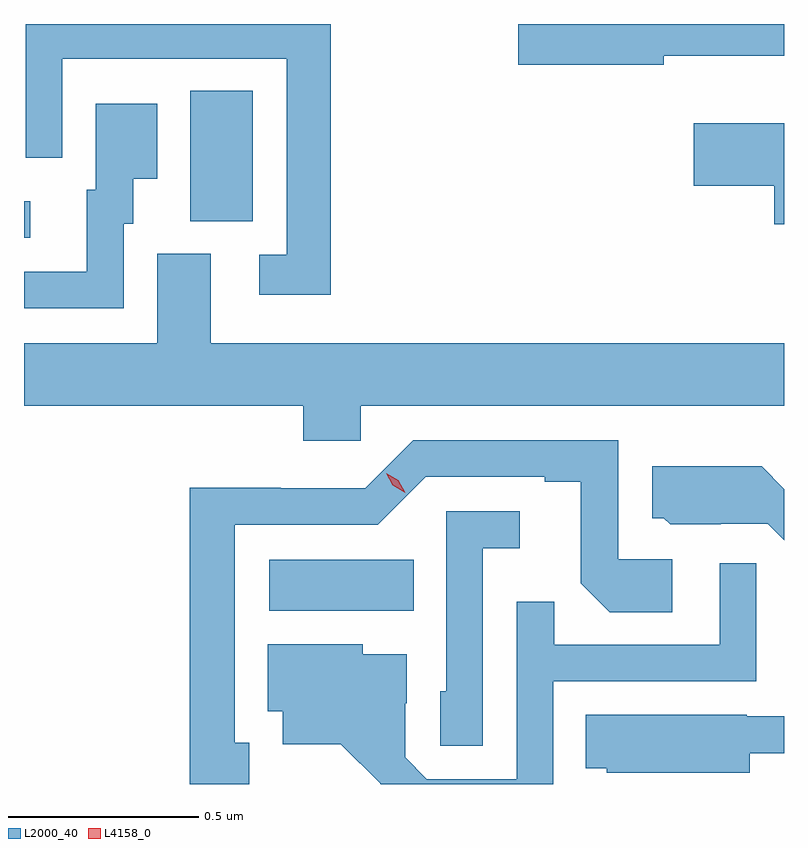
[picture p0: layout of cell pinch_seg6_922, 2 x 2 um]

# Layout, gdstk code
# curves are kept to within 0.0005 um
import gdstk
lib = gdstk.Library(unit=1e-6, precision=1e-09)
def R(c, l, rs):  # rectangles x0, y0, x1, y1
    for r in rs: c.add(gdstk.rectangle(r[:2], r[2:], *l))
def P(c, l, *ps):  # polygons
    for p in ps: c.add(gdstk.Polygon(p, *l))
L2000_40 = (2000, 40)
L4158_0 = (4158, 0)

pinch_seg6_922 = lib.new_cell('pinch_seg6_922')
R(pinch_seg6_922, L2000_40, [(161.574,920.156,161.954,920.29), (160.928,921.138,160.945,921.234), (161.366,921.181,161.53,921.524)])
P(pinch_seg6_922, L2000_40, [(162.612,921.617),(162.928,921.617),(162.928,921.7),(162.228,921.7),(162.228,921.593),(162.612,921.593)],
  [(161.735,921.7),(160.933,921.7),(160.933,921.602),(160.932,921.602),(160.932,921.348),(161.028,921.348),(161.028,921.609),(161.619,921.609),(161.619,921.093),(161.547,921.093),(161.547,920.988),(161.735,920.988)],
  [(161.19,921.174),(161.215,921.174),(161.215,921.293),(161.278,921.293),(161.278,921.49),(161.117,921.49),(161.117,921.264),(161.093,921.264),(161.093,921.048),(160.928,921.048),(160.928,920.952),(161.19,920.952)],
  [(162.928,921.439),(162.69,921.439),(162.69,921.274),(162.902,921.274),(162.902,921.173),(162.928,921.173)],
  [(161.814,920.696),(162.928,920.696),(162.928,920.86),(161.419,920.86),(161.419,921.096),(161.279,921.096),(161.279,920.86),(160.928,920.86),(160.928,920.696),(161.663,920.696),(161.663,920.603),(161.814,920.603)],
  [(161.521,919.809),(161.482,919.809),(161.482,920.382),(161.859,920.382),(161.985,920.508),(162.299,920.508),(162.299,920.496),(162.393,920.496),(162.393,920.228),(162.469,920.152),(162.634,920.152),(162.634,920.292),(162.492,920.292),(162.492,920.604),(161.952,920.604),(161.826,920.478),(161.604,920.478),(161.604,920.48),(161.364,920.48),(161.364,919.7),(161.521,919.7)],
  [(162.928,920.476),(162.869,920.536),(162.581,920.536),(162.581,920.4),(162.612,920.4),(162.628,920.384),(162.762,920.384),(162.762,920.385),(162.885,920.385),(162.928,920.342)],
  [(162.135,920.321),(162.232,920.321),(162.232,920.418),(162.039,920.418),(162.039,919.944),(162.024,919.944),(162.024,919.801),(162.135,919.801)],
  [(162.321,919.971),(162.855,919.971),(162.855,920.281),(162.759,920.281),(162.759,920.067),(162.323,920.067),(162.323,920.18),(162.225,920.18),(162.225,919.713),(161.988,919.713),(161.931,919.77),(161.931,919.912),(161.935,919.912),(161.935,920.041),(161.82,920.041),(161.82,920.068),(161.57,920.068),(161.57,919.892),(161.609,919.892),(161.609,919.805),(161.761,919.805),(161.867,919.7),(162.321,919.7)],
  [(162.838,919.781),(162.928,919.781),(162.928,919.878),(162.83,919.878),(162.83,919.882),(162.406,919.882),(162.406,919.742),(162.462,919.742),(162.462,919.73),(162.838,919.73)])
P(pinch_seg6_922, L4158_0, [(161.931,920.467),(161.899,920.486),(161.881,920.518),(161.881,920.518),(161.881,920.518),(161.913,920.5),(161.931,920.467),(161.931,920.467)])

lib.write_gds('pinch_seg6_922.gds')
